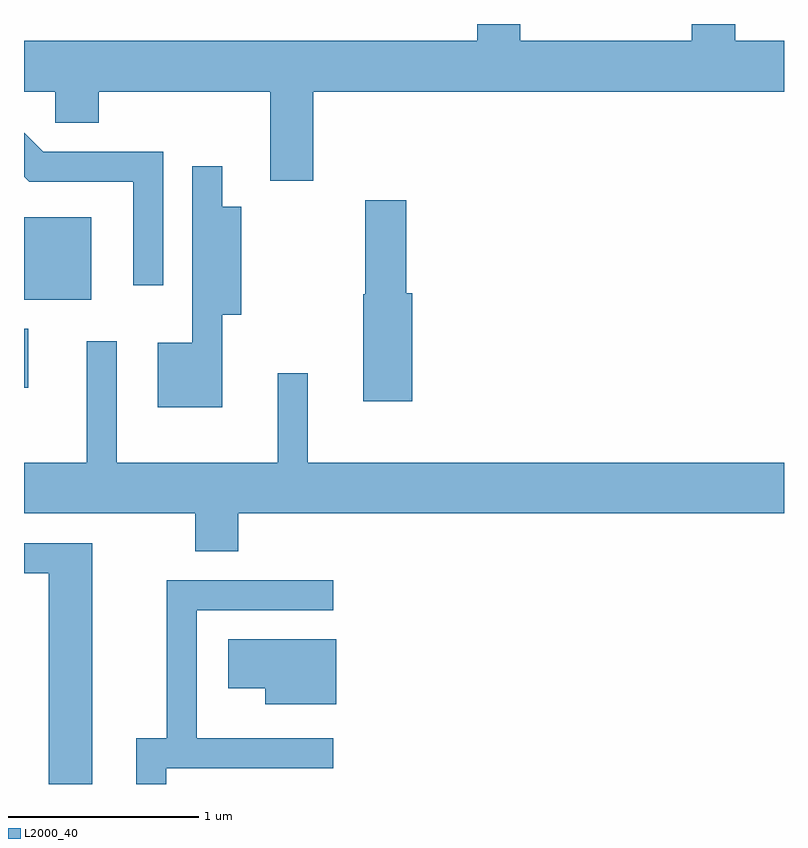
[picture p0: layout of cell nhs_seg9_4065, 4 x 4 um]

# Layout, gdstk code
import gdstk
lib = gdstk.Library(unit=1e-6, precision=1e-09)
def R(c, l, rs):  # rectangles x0, y0, x1, y1
    for r in rs: c.add(gdstk.rectangle(r[:2], r[2:], *l))
def P(c, l, *ps):  # polygons
    for p in ps: c.add(gdstk.Polygon(p, *l))
L2000_40 = (2000, 40)

nhs_seg9_4065 = lib.new_cell('nhs_seg9_4065')
R(nhs_seg9_4065, L2000_40, [(305.611,1952.518,305.634,1952.829), (305.611,1952.981,305.964,1953.414)])
P(nhs_seg9_4065, L2000_40, [(307.134,1954.076),(309.611,1954.076),(309.611,1954.344),(309.354,1954.344),(309.354,1954.432),(309.126,1954.432),(309.126,1954.344),(308.224,1954.344),(308.224,1954.432),(307.996,1954.432),(307.996,1954.344),(305.611,1954.344),(305.611,1954.076),(305.776,1954.076),(305.776,1953.911),(306.004,1953.911),(306.004,1954.076),(306.906,1954.076),(306.906,1953.606),(307.134,1953.606)],
  [(306.344,1953.759),(305.712,1953.759),(305.611,1953.86),(305.611,1953.629),(305.639,1953.601),(306.186,1953.601),(306.186,1953.058),(306.344,1953.058)],
  [(306.654,1952.901),(306.754,1952.901),(306.754,1953.469),(306.654,1953.469),(306.654,1953.683),(306.496,1953.683),(306.496,1952.754),(306.316,1952.754),(306.316,1952.416),(306.654,1952.416)],
  [(307.654,1953.014),(307.624,1953.014),(307.624,1953.504),(307.406,1953.504),(307.406,1953.01),(307.396,1953.01),(307.396,1952.446),(307.654,1952.446)],
  [(306.739,1951.856),(309.611,1951.856),(309.611,1952.124),(307.104,1952.124),(307.104,1952.593),(306.946,1952.593),(306.946,1952.124),(306.099,1952.124),(306.099,1952.763),(305.941,1952.763),(305.941,1952.124),(305.611,1952.124),(305.611,1951.856),(306.511,1951.856),(306.511,1951.656),(306.739,1951.656)],
  [(305.969,1951.699),(305.611,1951.699),(305.611,1951.541),(305.741,1951.541),(305.741,1950.432),(305.969,1950.432)],
  [(306.359,1950.516),(307.238,1950.516),(307.238,1950.674),(306.519,1950.674),(306.519,1951.346),(307.238,1951.346),(307.238,1951.504),(306.361,1951.504),(306.361,1950.674),(306.201,1950.674),(306.201,1950.432),(306.359,1950.432)],
  [(307.254,1951.194),(306.686,1951.194),(306.686,1950.936),(306.881,1950.936),(306.881,1950.851),(307.254,1950.851)])

lib.write_gds('nhs_seg9_4065.gds')
